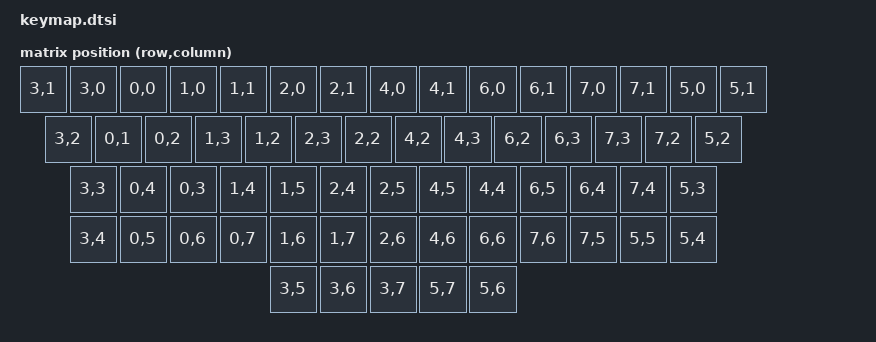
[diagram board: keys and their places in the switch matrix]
/*
 * Copyright (c) 2022 Paul Park
 *
 * SPDX-License-Identifier: MIT
 */

#include <dt-bindings/zmk/matrix_transform.h>

/ {
	chosen {
		zmk,kscan = &kscan0;
		zmk,matrix_transform = &default_transform;
	};

	default_transform: keymap_transform_0 {
		compatible = "zmk,matrix-transform";
		rows = <8>;
		columns = <8>;
// | MX1  | MX2  | MX3  | MX4  | MX5  | MX6  | MX7  | MX8  | MX9  | MX10 | MX11 | MX12 | MX13 | MX14 | MX15 |
// |   MX16   | MX17 | MX18 | MX19 | MX20 | MX21 | MX22 | MX23 | MX24 | MX35 | MX26 | MX27 | MX28 |  MX29   |
// |    MX30    | MX31 | MX32 | MX33 | MX34 | MX35 | MX36 | MX37 | MX38 | MX39 | MX40 | MX41 |     MX42     |
// |     MX43      | MX44 | MX45 | MX46 | MX47 | MX48 | MX49 | MX50 | MX51 | MX52 | MX53 |   MX54    | MX55 |
//          | MX56 |    MX57   |                  MX58                   |    MX59   | MX60 |

		map = <
RC(3,1)  RC(3,0) RC(0,0) RC(1,0) RC(1,1) RC(2,0) RC(2,1) RC(4,0) RC(4,1) RC(6,0) RC(6,1) RC(7,0) RC(7,1) RC(5,0) RC(5,1)
RC(3,2)    RC(0,1) RC(0,2) RC(1,3) RC(1,2) RC(2,3) RC(2,2) RC(4,2) RC(4,3) RC(6,2) RC(6,3) RC(7,3) RC(7,2)   RC(5,2)
RC(3,3)     RC(0,4) RC(0,3) RC(1,4) RC(1,5) RC(2,4) RC(2,5) RC(4,5) RC(4,4) RC(6,5) RC(6,4) RC(7,4)          RC(5,3)
RC(3,4)       RC(0,5) RC(0,6) RC(0,7) RC(1,6) RC(1,7) RC(2,6) RC(4,6) RC(6,6) RC(7,6) RC(7,5)      RC(5,5)   RC(5,4)
      RC(3,5)   RC(3,6)                     RC(3,7)                    RC(5,7)    RC(5,6)
        >;
	};

	kscan0: kscan {
		// compatible = "zmk,kscan-gpio-matrix";
		compatible = "zmk,kscan-hhkb";
		label = "KSCAN";

		// Outputs
		row0-gpios = <&gpio0 20 (GPIO_ACTIVE_HIGH)>;
		row1-gpios = <&gpio0 13 (GPIO_ACTIVE_HIGH)>;
		row2-gpios = <&gpio0 22 (GPIO_ACTIVE_HIGH)>;
		col0-gpios = <&gpio0 10 (GPIO_ACTIVE_HIGH)>;
		col1-gpios = <&gpio1 6 (GPIO_ACTIVE_HIGH)>;
		col2-gpios = <&gpio0 9 (GPIO_ACTIVE_HIGH)>;
		col-en-gpios = <&gpio1 4 (GPIO_ACTIVE_LOW)>;
		hys-gpios = <&gpio0 17 (GPIO_ACTIVE_HIGH)>;
		// row_bank only be used in jp version.
		row-en0-gpios = <&gpio1 0 (GPIO_ACTIVE_LOW)>;
		row-en1-gpios = <&gpio0 24 (GPIO_ACTIVE_LOW)>;

		// Inputs
		key-gpios = <&gpio0 15 (GPIO_ACTIVE_LOW | GPIO_PULL_UP)>;
	};
};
